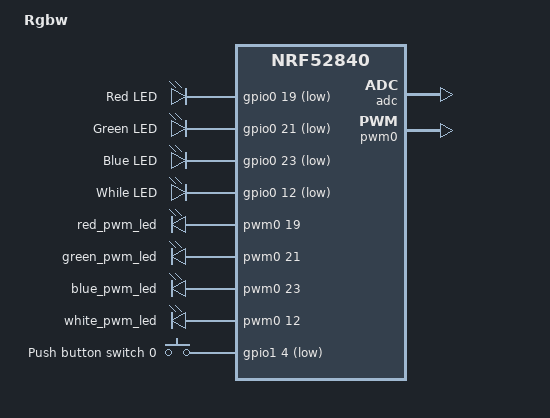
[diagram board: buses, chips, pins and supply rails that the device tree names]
/*
 * Copyright (c) 2020 Hubert Miś
 *
 * SPDX-License-Identifier: Apache-2.0
 */

/dts-v1/;
#include <nordic/nrf52840_qiaa.dtsi>

/ {
	model = "Rgbw";
	compatible = "hubertmis,rgbw2";

	chosen {
		zephyr,sram = &sram0;
		zephyr,flash = &flash0;
		zephyr,code-partition = &slot0_partition;
	};

    leds {
        compatible = "gpio-leds";
        led_red: led_0 {
            gpios = <&gpio0 19 GPIO_ACTIVE_LOW>;
            label = "Red LED";
        };
        led_green: led_1 {
            gpios = <&gpio0 21 GPIO_ACTIVE_LOW>;
            label = "Green LED";
        };
        led_blue: led_2 {
            gpios = <&gpio0 23 GPIO_ACTIVE_LOW>;
            label = "Blue LED";
        };
        led_white: led_3 {
            gpios = <&gpio0 12 GPIO_ACTIVE_LOW>;
            label = "While LED";
        };
    };

    pwmleds {
        compatible = "pwm-leds";
        red_pwm_led: pwm_led_0 {
            pwms = <&pwm0 19>;
        };
        green_pwm_led: pwm_led_1 {
            pwms = <&pwm0 21>;
        };
        blue_pwm_led: pwm_led_2 {
            pwms = <&pwm0 23>;
        };
        white_pwm_led: pwm_led_3 {
            pwms = <&pwm0 12>;
        };
    };

    buttons {
        compatible = "gpio-keys";
        button0: button_0 {
            gpios = <&gpio1 4 (GPIO_PULL_UP | GPIO_ACTIVE_LOW)>;
            label = "Push button switch 0";
        };
    };

    /*
    * In some default configurations within the nRF Connect SDK,
    * e.g. on nRF52840, the chosen zephyr,entropy node is &cryptocell.
    * This devicetree overlay ensures that default is overridden wherever it
    * is set, as this application uses the RNG node for entropy exclusively.
    */
    chosen {
        zephyr,entropy = &rng;
    };

    /* These aliases are provided for compatibility with samples */
    aliases {
        red-pwm-led = &red_pwm_led;
        green-pwm-led = &green_pwm_led;
        blue-pwm-led = &blue_pwm_led;
        white-pwm-led = &white_pwm_led;
    };

};

&adc {
	status = "okay";
};

&gpiote {
	status = "okay";
};

&gpio0 {
	status = "okay";
};

&gpio1 {
	status = "okay";
};

&pwm0 {
    status = "okay";
    ch0-pin = <19>;
    ch0-inverted;
    ch1-pin = <21>;
    ch1-inverted;
    ch2-pin = <23>;
    ch2-inverted;
    ch3-pin = <12>;
    ch3-inverted;
};

&flash0 {

	partitions {
		compatible = "fixed-partitions";
		#address-cells = <1>;
		#size-cells = <1>;

		boot_partition: partition@0 {
			label = "mcuboot";
			reg = <0x000000000 0x0000C000>;
		};
		slot0_partition: partition@c000 {
			label = "image-0";
			reg = <0x0000C000 0x00067000>;
		};
		slot1_partition: partition@73000 {
			label = "image-1";
			reg = <0x00073000 0x00067000>;
		};
		scratch_partition: partition@da000 {
			label = "image-scratch";
			reg = <0x000da000 0x0001e000>;
		};

		/*
		 * The flash starting at 0x000f8000 and ending at
		 * 0x000fffff is reserved for use by the application.
		 */

		/*
		 * Storage partition will be used by FCB/LittleFS/NVS
		 * if enabled.
		 */
		storage_partition: partition@f8000 {
			label = "storage";
			reg = <0x000f8000 0x00008000>;
		};
	};
};
